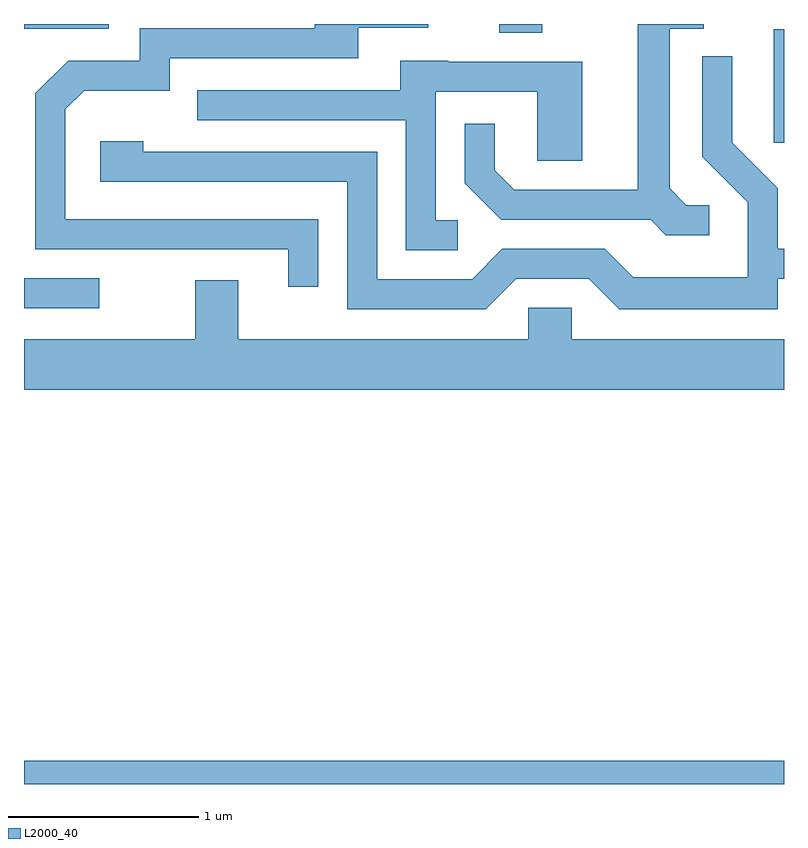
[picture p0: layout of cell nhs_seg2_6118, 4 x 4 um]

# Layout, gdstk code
import gdstk
lib = gdstk.Library(unit=1e-6, precision=1e-09)
def R(c, l, rs):  # rectangles x0, y0, x1, y1
    for r in rs: c.add(gdstk.rectangle(r[:2], r[2:], *l))
def P(c, l, *ps):  # polygons
    for p in ps: c.add(gdstk.Polygon(p, *l))
L2000_40 = (2000, 40)

nhs_seg2_6118 = lib.new_cell('nhs_seg2_6118')
R(nhs_seg2_6118, L2000_40, [(365.611,1041.802,369.611,1041.924), (365.611,1044.306,366.008,1044.464), (369.556,1045.176,369.611,1045.774), (368.111,1045.756,368.339,1045.802)])
P(nhs_seg2_6118, L2000_40, [(365.612,1045.776),(366.058,1045.776),(366.058,1045.802),(365.611,1045.802),(365.611,1045.775)],
  [(369.218,1044.849),(369.097,1044.849),(369.009,1044.937),(369.009,1045.776),(369.188,1045.776),(369.188,1045.802),(368.841,1045.802),(368.841,1044.929),(368.192,1044.929),(368.089,1045.032),(368.089,1045.277),(367.931,1045.277),(367.931,1044.964),(368.124,1044.771),(368.909,1044.771),(368.989,1044.691),(369.218,1044.691)],
  [(367.159,1044.774),(365.829,1044.774),(365.829,1045.353),(365.927,1045.451),(366.379,1045.451),(366.379,1045.621),(367.369,1045.621),(367.369,1045.781),(367.738,1045.781),(367.738,1045.802),(367.141,1045.802),(367.141,1045.779),(366.221,1045.779),(366.221,1045.609),(365.844,1045.609),(365.671,1045.437),(365.671,1044.616),(367.001,1044.616),(367.001,1044.418),(367.159,1044.418)],
  [(368.202,1044.461),(368.584,1044.461),(368.744,1044.301),(369.579,1044.301),(369.579,1044.461),(369.611,1044.461),(369.611,1044.619),(369.579,1044.619),(369.579,1044.937),(369.339,1045.177),(369.339,1045.632),(369.181,1045.632),(369.181,1045.103),(369.421,1044.863),(369.421,1044.469),(368.817,1044.469),(368.667,1044.619),(368.129,1044.619),(367.969,1044.459),(367.469,1044.459),(367.469,1045.129),(366.239,1045.129),(366.239,1045.184),(366.011,1045.184),(366.011,1044.971),(367.311,1044.971),(367.311,1044.301),(368.042,1044.301)],
  [(367.893,1044.769),(367.779,1044.769),(367.779,1045.446),(368.311,1045.446),(368.311,1045.081),(368.549,1045.081),(368.549,1045.604),(367.845,1045.604),(367.845,1045.609),(367.591,1045.609),(367.591,1045.454),(366.523,1045.454),(366.523,1045.296),(367.621,1045.296),(367.621,1044.611),(367.893,1044.611)],
  [(369.611,1044.144),(368.494,1044.144),(368.494,1044.309),(368.266,1044.309),(368.266,1044.144),(366.739,1044.144),(366.739,1044.454),(366.511,1044.454),(366.511,1044.144),(365.611,1044.144),(365.611,1043.876),(369.611,1043.876)])

lib.write_gds('nhs_seg2_6118.gds')
